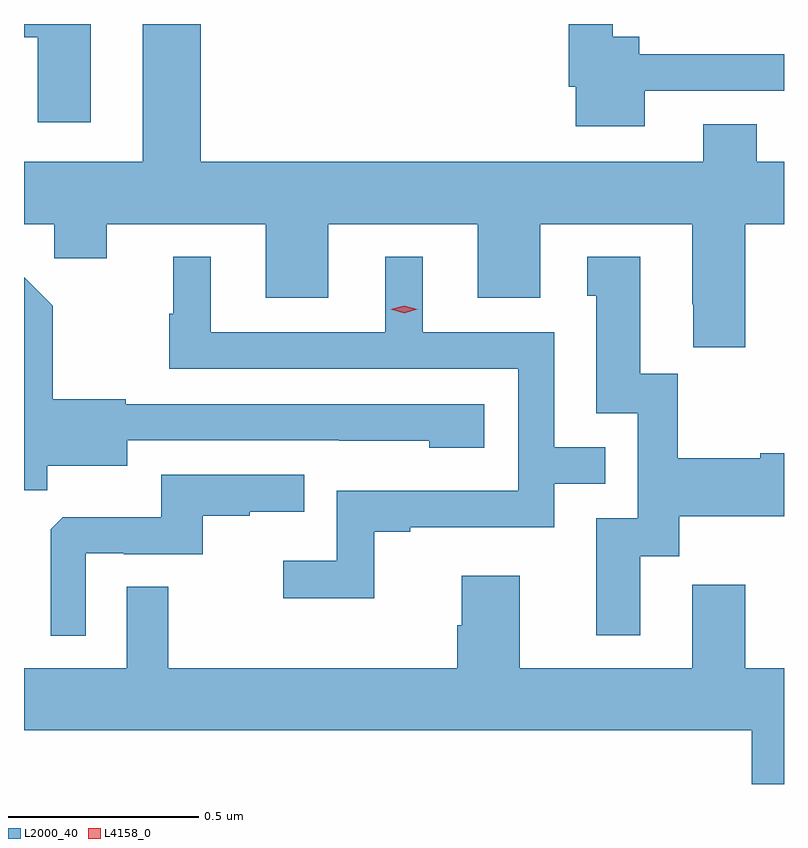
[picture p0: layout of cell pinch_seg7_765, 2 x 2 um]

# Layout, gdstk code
import gdstk
lib = gdstk.Library(unit=1e-6, precision=1e-09)
def P(c, l, *ps):  # polygons
    for p in ps: c.add(gdstk.Polygon(p, *l))
L2000_40 = (2000, 40)
L4158_0 = (4158, 0)

pinch_seg7_765 = lib.new_cell('pinch_seg7_765')
P(pinch_seg7_765, L2000_40, [(335.413,1033.916),(335.515,1033.916),(335.515,1034.08),(335.443,1034.08),(335.443,1034.179),(335.303,1034.179),(335.303,1034.08),(333.98,1034.08),(333.98,1034.443),(333.827,1034.443),(333.827,1034.08),(333.515,1034.08),(333.515,1033.916),(333.595,1033.916),(333.595,1033.826),(333.733,1033.826),(333.733,1033.916),(334.151,1033.916),(334.151,1033.722),(334.315,1033.722),(334.315,1033.916),(334.709,1033.916),(334.709,1033.722),(334.873,1033.722),(334.873,1033.916),(335.273,1033.916),(335.273,1033.705),(335.276,1033.705),(335.276,1033.593),(335.413,1033.593)],
  [(333.691,1034.443),(333.515,1034.443),(333.515,1034.408),(333.551,1034.408),(333.551,1034.184),(333.691,1034.184)],
  [(335.149,1034.268),(335.515,1034.268),(335.515,1034.364),(335.134,1034.364),(335.134,1034.41),(335.064,1034.41),(335.064,1034.443),(334.948,1034.443),(334.948,1034.278),(334.967,1034.278),(334.967,1034.174),(335.149,1034.174)],
  [(335.137,1033.042),(335.239,1033.042),(335.239,1033.148),(335.515,1033.148),(335.515,1033.313),(335.453,1033.313),(335.453,1033.3),(335.235,1033.3),(335.235,1033.523),(335.137,1033.523),(335.137,1033.831),(334.997,1033.831),(334.997,1033.728),(335.021,1033.728),(335.021,1033.419),(335.13,1033.419),(335.13,1033.143),(335.021,1033.143),(335.021,1032.834),(335.137,1032.834)],
  [(334.437,1033.107),(334.531,1033.107),(334.531,1033.119),(334.911,1033.119),(334.911,1033.233),(335.045,1033.233),(335.045,1033.329),(334.911,1033.329),(334.911,1033.632),(334.564,1033.632),(334.564,1033.831),(334.466,1033.831),(334.466,1033.632),(334.006,1033.632),(334.006,1033.831),(333.908,1033.831),(333.908,1033.68),(333.897,1033.68),(333.897,1033.536),(334.815,1033.536),(334.815,1033.215),(334.338,1033.215),(334.338,1033.03),(334.197,1033.03),(334.197,1032.932),(334.437,1032.932)],
  [(333.576,1033.28),(333.787,1033.28),(333.787,1033.347),(334.345,1033.347),(334.345,1033.346),(334.581,1033.346),(334.581,1033.328),(334.726,1033.328),(334.726,1033.443),(333.783,1033.443),(333.783,1033.456),(333.591,1033.456),(333.591,1033.701),(333.515,1033.777),(333.515,1033.216),(333.576,1033.216)],
  [(333.678,1033.05),(333.778,1033.05),(333.778,1033.047),(333.986,1033.047),(333.986,1033.149),(334.109,1033.149),(334.109,1033.16),(334.253,1033.16),(334.253,1033.257),(333.876,1033.257),(333.876,1033.145),(333.617,1033.145),(333.585,1033.113),(333.585,1032.833),(333.678,1032.833)],
  [(335.515,1032.748),(335.413,1032.748),(335.413,1032.967),(335.273,1032.967),(335.273,1032.748),(334.819,1032.748),(334.819,1032.991),(334.667,1032.991),(334.667,1032.861),(334.655,1032.861),(334.655,1032.748),(333.895,1032.748),(333.895,1032.962),(333.786,1032.962),(333.786,1032.748),(333.515,1032.748),(333.515,1032.584),(335.43,1032.584),(335.43,1032.443),(335.515,1032.443)])
P(pinch_seg7_765, L4158_0, [(334.515,1033.682),(334.48,1033.692),(334.479,1033.692),(334.48,1033.692),(334.515,1033.702),(334.55,1033.692),(334.551,1033.692),(334.55,1033.692)])

lib.write_gds('pinch_seg7_765.gds')
